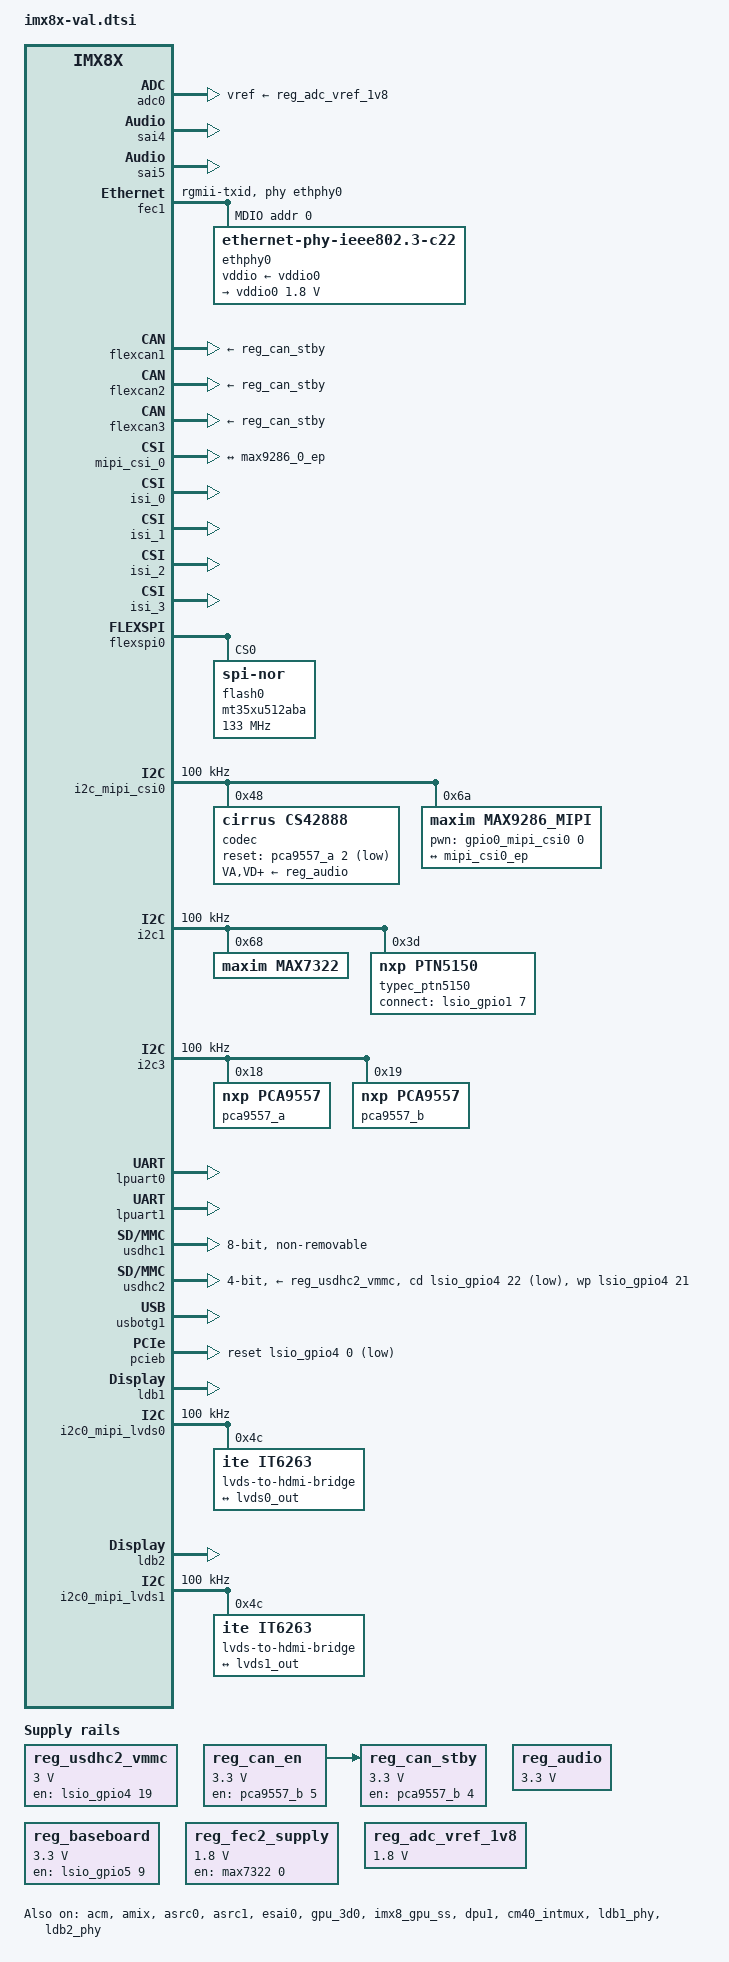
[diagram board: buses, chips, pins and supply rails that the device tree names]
// SPDX-License-Identifier: GPL-2.0+
/*
 * Copyright (C) 2016 Freescale Semiconductor, Inc.
 * Copyright 2017-2019 NXP
 */

/ {
	chosen {
		bootargs = "console=ttyLP0,115200 earlycon=lpuart32,0x5a060000,115200";
		stdout-path = &lpuart0;
	};

	regulators {
		compatible = "simple-bus";
		#address-cells = <1>;
		#size-cells = <0>;

		reg_usdhc2_vmmc: usdhc2_vmmc {
			compatible = "regulator-fixed";
			regulator-name = "SD1_SPWR";
			regulator-min-microvolt = <3000000>;
			regulator-max-microvolt = <3000000>;
			gpio = <&lsio_gpio4 19 GPIO_ACTIVE_HIGH>;
			off-on-delay = <2720>;
			enable-active-high;
		};

		reg_can_en: regulator-can-gen {
			compatible = "regulator-fixed";
			regulator-name = "can-en";
			regulator-min-microvolt = <3300000>;
			regulator-max-microvolt = <3300000>;
			gpio = <&pca9557_b 5 GPIO_ACTIVE_HIGH>;
			enable-active-high;
		};

		reg_can_stby: regulator-can-stby {
			compatible = "regulator-fixed";
			regulator-name = "can-stby";
			regulator-min-microvolt = <3300000>;
			regulator-max-microvolt = <3300000>;
			gpio = <&pca9557_b 4 GPIO_ACTIVE_HIGH>;
			enable-active-high;
			vin-supply = <&reg_can_en>;
		};

		reg_audio: fixedregulator@0 {
			compatible = "regulator-fixed";
			reg = <2>;
			regulator-name = "cs42888_supply";
			regulator-min-microvolt = <3300000>;
			regulator-max-microvolt = <3300000>;
			regulator-always-on;
		};

		reg_baseboard: fixedregulator@1 {
			compatible = "regulator-fixed";
			reg = <2>;
			regulator-name = "baseboard_supply";
			regulator-min-microvolt = <3300000>;
			regulator-max-microvolt = <3300000>;
			regulator-always-on;
			gpio = <&lsio_gpio5 9 GPIO_ACTIVE_HIGH>;
			enable-active-high;
		};

		reg_fec2_supply: fec2_nvcc {
			compatible = "regulator-fixed";
			regulator-name = "fec2_nvcc";
			regulator-min-microvolt = <1800000>;
			regulator-max-microvolt = <1800000>;
			gpio = <&max7322 0 GPIO_ACTIVE_HIGH>;
			enable-active-high;
		};

		reg_adc_vref_1v8: adc_vref_1v8 {
			compatible = "regulator-fixed";
			regulator-name = "vref_1v8";
			regulator-min-microvolt = <1800000>;
			regulator-max-microvolt = <1800000>;
		};
	};

	sound-cs42888 {
		compatible = "fsl,imx8qm-sabreauto-cs42888",
				"fsl,imx-audio-cs42888";
		model = "imx-cs42888";
		audio-cpu = <&esai0>;
		audio-codec = <&codec>;
		audio-asrc = <&asrc0>;
		audio-routing =
			"Line Out Jack", "AOUT1L",
			"Line Out Jack", "AOUT1R",
			"Line Out Jack", "AOUT2L",
			"Line Out Jack", "AOUT2R",
			"Line Out Jack", "AOUT3L",
			"Line Out Jack", "AOUT3R",
			"Line Out Jack", "AOUT4L",
			"Line Out Jack", "AOUT4R",
			"AIN1L", "Line In Jack",
			"AIN1R", "Line In Jack",
			"AIN2L", "Line In Jack",
			"AIN2R", "Line In Jack";
		status = "okay";
	};
};

&acm {
	status = "okay";
};

&adc0 {
	pinctrl-names = "default";
	pinctrl-0 = <&pinctrl_adc0>;
	vref-supply = <&reg_adc_vref_1v8>;
	status = "okay";
};

&amix {
	status = "okay";
};

&asrc0 {
	fsl,asrc-rate  = <48000>;
	status = "okay";
};

&asrc1 {
	fsl,asrc-rate = <48000>;
	status = "okay";
};

&esai0 {
	compatible = "fsl,imx8qm-esai";
	pinctrl-names = "default";
	pinctrl-0 = <&pinctrl_esai0>;
	assigned-clocks = <&acm IMX_ADMA_ACM_ESAI0_MCLK_SEL>,
			<&clk IMX_SC_R_AUDIO_PLL_0 IMX_SC_PM_CLK_PLL>,
			<&clk IMX_SC_R_AUDIO_PLL_0 IMX_SC_PM_CLK_SLV_BUS>,
			<&clk IMX_SC_R_AUDIO_PLL_0 IMX_SC_PM_CLK_MST_BUS>,
			<&esai0_lpcg 0>;
	assigned-clock-parents = <&aud_pll_div0_lpcg 0>;
	assigned-clock-rates = <0>, <786432000>, <49152000>, <24576000>, <49152000>;
	status = "okay";
};

&sai4 {
	assigned-clocks = <&acm IMX_ADMA_ACM_SAI4_MCLK_SEL>,
			<&clk IMX_SC_R_AUDIO_PLL_1 IMX_SC_PM_CLK_PLL>,
			<&clk IMX_SC_R_AUDIO_PLL_1 IMX_SC_PM_CLK_SLV_BUS>,
			<&clk IMX_SC_R_AUDIO_PLL_1 IMX_SC_PM_CLK_MST_BUS>,
			<&sai4_lpcg 0>;
	assigned-clock-parents = <&aud_pll_div1_lpcg 0>;
	assigned-clock-rates = <0>, <786432000>, <98304000>, <24576000>, <98304000>;
	fsl,sai-asynchronous;
	fsl,txm-rxs;
	status = "okay";
};

&sai5 {
	assigned-clocks = <&acm IMX_ADMA_ACM_SAI5_MCLK_SEL>,
			<&clk IMX_SC_R_AUDIO_PLL_1 IMX_SC_PM_CLK_PLL>,
			<&clk IMX_SC_R_AUDIO_PLL_1 IMX_SC_PM_CLK_SLV_BUS>,
			<&clk IMX_SC_R_AUDIO_PLL_1 IMX_SC_PM_CLK_MST_BUS>,
			<&sai5_lpcg 0>;
	assigned-clock-parents = <&aud_pll_div1_lpcg 0>;
	assigned-clock-rates = <0>, <786432000>, <98304000>, <24576000>, <98304000>;
	fsl,sai-asynchronous;
	fsl,txm-rxs;
	status = "okay";
};

&iomuxc {
	pinctrl-names = "default";
	pinctrl-0 = <&pinctrl_hog>;
	imx8qxp-lpddr4-arm2 {
		pinctrl_hog: hoggrp {
			fsl,pins = <
				IMX8QXP_ENET0_REFCLK_125M_25M_LSIO_GPIO5_IO09 0xc600004c
				IMX8QXP_COMP_CTL_GPIO_1V8_3V3_GPIORHB_PAD	0x000514a0
			>;
		};

		pinctrl_adc0: adc0grp {
			fsl,pins = <
				IMX8QXP_ADC_IN0_ADMA_ADC_IN0		0x60
				IMX8QXP_ADC_IN1_ADMA_ADC_IN1		0x60
			>;
		};

		pinctrl_csi0_lpi2c0: csi0lpi2c0grp {
			fsl,pins = <
				IMX8QXP_MIPI_CSI0_I2C0_SCL_MIPI_CSI0_I2C0_SCL	0xc2000020
				IMX8QXP_MIPI_CSI0_I2C0_SDA_MIPI_CSI0_I2C0_SDA	0xc2000020
			>;
		};

		pinctrl_esai0: esai0grp {
			fsl,pins = <
				IMX8QXP_ESAI0_FSR_ADMA_ESAI0_FSR		0xc6000040
				IMX8QXP_ESAI0_FST_ADMA_ESAI0_FST		0xc6000040
				IMX8QXP_ESAI0_SCKR_ADMA_ESAI0_SCKR		0xc6000040
				IMX8QXP_ESAI0_SCKT_ADMA_ESAI0_SCKT		0xc6000040
				IMX8QXP_ESAI0_TX0_ADMA_ESAI0_TX0		0xc6000040
				IMX8QXP_ESAI0_TX1_ADMA_ESAI0_TX1		0xc6000040
				IMX8QXP_ESAI0_TX2_RX3_ADMA_ESAI0_TX2_RX3	0xc6000040
				IMX8QXP_ESAI0_TX3_RX2_ADMA_ESAI0_TX3_RX2	0xc6000040
				IMX8QXP_ESAI0_TX4_RX1_ADMA_ESAI0_TX4_RX1	0xc6000040
				IMX8QXP_ESAI0_TX5_RX0_ADMA_ESAI0_TX5_RX0	0xc6000040
				IMX8QXP_MCLK_OUT0_ADMA_ACM_MCLK_OUT0	0xc6000040
			>;
		};

		pinctrl_fec1: fec1grp {
			fsl,pins = <
				IMX8QXP_COMP_CTL_GPIO_1V8_3V3_ENET_ENETB0_PAD	0x000014a0
				IMX8QXP_COMP_CTL_GPIO_1V8_3V3_ENET_ENETB1_PAD	0x000014a0
				IMX8QXP_ENET0_MDC_CONN_ENET0_MDC			0x06000020
				IMX8QXP_ENET0_MDIO_CONN_ENET0_MDIO			0x06000020
				IMX8QXP_ENET0_RGMII_TX_CTL_CONN_ENET0_RGMII_TX_CTL	0x00000060
				IMX8QXP_ENET0_RGMII_TXC_CONN_ENET0_RGMII_TXC	0x00000060
				IMX8QXP_ENET0_RGMII_TXD0_CONN_ENET0_RGMII_TXD0	0x00000060
				IMX8QXP_ENET0_RGMII_TXD1_CONN_ENET0_RGMII_TXD1	0x00000060
				IMX8QXP_ENET0_RGMII_TXD2_CONN_ENET0_RGMII_TXD2	0x00000060
				IMX8QXP_ENET0_RGMII_TXD3_CONN_ENET0_RGMII_TXD3	0x00000060
				IMX8QXP_ENET0_RGMII_RXC_CONN_ENET0_RGMII_RXC	0x00000060
				IMX8QXP_ENET0_RGMII_RX_CTL_CONN_ENET0_RGMII_RX_CTL	0x00000060
				IMX8QXP_ENET0_RGMII_RXD0_CONN_ENET0_RGMII_RXD0	0x00000060
				IMX8QXP_ENET0_RGMII_RXD1_CONN_ENET0_RGMII_RXD1	0x00000060
				IMX8QXP_ENET0_RGMII_RXD2_CONN_ENET0_RGMII_RXD2	0x00000060
				IMX8QXP_ENET0_RGMII_RXD3_CONN_ENET0_RGMII_RXD3	0x00000060
			>;
		};

		pinctrl_fec2: fec2grp {
			fsl,pins = <
				IMX8QXP_ESAI0_SCKR_CONN_ENET1_RGMII_TX_CTL		0x00000060
				IMX8QXP_ESAI0_FSR_CONN_ENET1_RGMII_TXC		0x00000060
				IMX8QXP_ESAI0_TX4_RX1_CONN_ENET1_RGMII_TXD0	0x00000060
				IMX8QXP_ESAI0_TX5_RX0_CONN_ENET1_RGMII_TXD1	0x00000060
				IMX8QXP_ESAI0_FST_CONN_ENET1_RGMII_TXD2		0x00000060
				IMX8QXP_ESAI0_SCKT_CONN_ENET1_RGMII_TXD3		0x00000060
				IMX8QXP_ESAI0_TX0_CONN_ENET1_RGMII_RXC		0x00000060
				IMX8QXP_SPDIF0_TX_CONN_ENET1_RGMII_RX_CTL		0x00000060
				IMX8QXP_SPDIF0_RX_CONN_ENET1_RGMII_RXD0		0x00000060
				IMX8QXP_ESAI0_TX3_RX2_CONN_ENET1_RGMII_RXD1	0x00000060
				IMX8QXP_ESAI0_TX2_RX3_CONN_ENET1_RGMII_RXD2	0x00000060
				IMX8QXP_ESAI0_TX1_CONN_ENET1_RGMII_RXD3		0x00000060
			>;
		};

		pinctrl_flexcan1: flexcan0grp {
			fsl,pins = <
				IMX8QXP_FLEXCAN0_TX_ADMA_FLEXCAN0_TX		0x21
				IMX8QXP_FLEXCAN0_RX_ADMA_FLEXCAN0_RX		0x21
			>;
		};

		pinctrl_flexcan2: flexcan1grp {
			fsl,pins = <
				IMX8QXP_FLEXCAN1_TX_ADMA_FLEXCAN1_TX		0x21
				IMX8QXP_FLEXCAN1_RX_ADMA_FLEXCAN1_RX		0x21
			>;
		};

		pinctrl_flexcan3: flexcan2grp {
			fsl,pins = <
				IMX8QXP_FLEXCAN2_TX_ADMA_FLEXCAN2_TX		0x21
				IMX8QXP_FLEXCAN2_RX_ADMA_FLEXCAN2_RX		0x21
			>;
		};

		pinctrl_i2c0_mipi_lvds0: mipi_lvds0_i2c0_grp {
			fsl,pins = <
				IMX8QXP_MIPI_DSI0_I2C0_SCL_MIPI_DSI0_I2C0_SCL 0xc6000020
				IMX8QXP_MIPI_DSI0_I2C0_SDA_MIPI_DSI0_I2C0_SDA 0xc6000020
			>;
		};

		pinctrl_i2c0_mipi_lvds1: mipi_lvds1_i2c0_grp {
			fsl,pins = <
				IMX8QXP_MIPI_DSI1_I2C0_SCL_MIPI_DSI1_I2C0_SCL 0xc6000020
				IMX8QXP_MIPI_DSI1_I2C0_SDA_MIPI_DSI1_I2C0_SDA 0xc6000020
			>;
		};

		pinctrl_ptn5150: ptn5150 {
			fsl,pins = <
				IMX8QXP_SPI0_CS1_LSIO_GPIO1_IO07		0x00000021
			>;
		};

		pinctrl_flexspi0: flexspi0grp {
			fsl,pins = <
				IMX8QXP_QSPI0A_DATA0_LSIO_QSPI0A_DATA0	0x06000021
				IMX8QXP_QSPI0A_DATA1_LSIO_QSPI0A_DATA1	0x06000021
				IMX8QXP_QSPI0A_DATA2_LSIO_QSPI0A_DATA2	0x06000021
				IMX8QXP_QSPI0A_DATA3_LSIO_QSPI0A_DATA3	0x06000021
				IMX8QXP_QSPI0A_DQS_LSIO_QSPI0A_DQS		0x06000021
				IMX8QXP_QSPI0A_SS0_B_LSIO_QSPI0A_SS0_B	0x06000021
				IMX8QXP_QSPI0A_SS1_B_LSIO_QSPI0A_SS1_B	0x06000021
				IMX8QXP_QSPI0A_SCLK_LSIO_QSPI0A_SCLK	0x06000021
				IMX8QXP_QSPI0B_SCLK_LSIO_QSPI0B_SCLK	0x06000021
				IMX8QXP_QSPI0B_DATA0_LSIO_QSPI0B_DATA0	0x06000021
				IMX8QXP_QSPI0B_DATA1_LSIO_QSPI0B_DATA1	0x06000021
				IMX8QXP_QSPI0B_DATA2_LSIO_QSPI0B_DATA2	0x06000021
				IMX8QXP_QSPI0B_DATA3_LSIO_QSPI0B_DATA3	0x06000021
				IMX8QXP_QSPI0B_DQS_LSIO_QSPI0B_DQS		0x06000021
				IMX8QXP_QSPI0B_SS0_B_LSIO_QSPI0B_SS0_B	0x06000021
				IMX8QXP_QSPI0B_SS1_B_LSIO_QSPI0B_SS1_B	0x06000021
			>;
		};

		pinctrl_lpi2c1: lpi1cgrp {
			fsl,pins = <
				IMX8QXP_USB_SS3_TC1_ADMA_I2C1_SCL	0x06000021
				IMX8QXP_USB_SS3_TC3_ADMA_I2C1_SDA	0x06000021
			>;
		};

		pinctrl_lpi2c3: lpi2cgrp {
			fsl,pins = <
				IMX8QXP_SPI3_CS1_ADMA_I2C3_SCL	0x06000020
				IMX8QXP_MCLK_IN1_ADMA_I2C3_SDA	0x06000020
			>;
		};

		pinctrl_lpuart0: lpuart0grp {
			fsl,pins = <
				IMX8QXP_UART0_RX_ADMA_UART0_RX	0x0600002c
				IMX8QXP_UART0_TX_ADMA_UART0_TX	0x0600002c
			>;
		};

		pinctrl_lpuart1: lpuart1grp {
			fsl,pins = <
				IMX8QXP_UART1_TX_ADMA_UART1_TX		0x0600002c
				IMX8QXP_UART1_RX_ADMA_UART1_RX		0x0600002c
				IMX8QXP_UART1_RTS_B_ADMA_UART1_RTS_B	0x0600002c
				IMX8QXP_UART1_CTS_B_ADMA_UART1_CTS_B	0x0600002c
			>;
		};

		pinctrl_lpuart3: lpuart3grp {
			fsl,pins = <
				IMX8QXP_FLEXCAN2_RX_ADMA_UART3_RX	0x0600002c
				IMX8QXP_FLEXCAN2_TX_ADMA_UART3_TX	0x0600002c
			>;
		};

		pinctrl_usdhc1: usdhc1grp {
			fsl,pins = <
				IMX8QXP_EMMC0_CLK_CONN_EMMC0_CLK		0x06000041
				IMX8QXP_EMMC0_CMD_CONN_EMMC0_CMD		0x00000021
				IMX8QXP_EMMC0_DATA0_CONN_EMMC0_DATA0	0x00000021
				IMX8QXP_EMMC0_DATA1_CONN_EMMC0_DATA1	0x00000021
				IMX8QXP_EMMC0_DATA2_CONN_EMMC0_DATA2	0x00000021
				IMX8QXP_EMMC0_DATA3_CONN_EMMC0_DATA3	0x00000021
				IMX8QXP_EMMC0_DATA4_CONN_EMMC0_DATA4	0x00000021
				IMX8QXP_EMMC0_DATA5_CONN_EMMC0_DATA5	0x00000021
				IMX8QXP_EMMC0_DATA6_CONN_EMMC0_DATA6	0x00000021
				IMX8QXP_EMMC0_DATA7_CONN_EMMC0_DATA7	0x00000021
				IMX8QXP_EMMC0_STROBE_CONN_EMMC0_STROBE	0x00000041
				IMX8QXP_EMMC0_RESET_B_CONN_EMMC0_RESET_B	0x00000021
			>;
		};

		pinctrl_usdhc1_100mhz: usdhc1grp100mhz {
			fsl,pins = <
				IMX8QXP_EMMC0_CLK_CONN_EMMC0_CLK		0x06000040
				IMX8QXP_EMMC0_CMD_CONN_EMMC0_CMD		0x00000020
				IMX8QXP_EMMC0_DATA0_CONN_EMMC0_DATA0	0x00000020
				IMX8QXP_EMMC0_DATA1_CONN_EMMC0_DATA1	0x00000020
				IMX8QXP_EMMC0_DATA2_CONN_EMMC0_DATA2	0x00000020
				IMX8QXP_EMMC0_DATA3_CONN_EMMC0_DATA3	0x00000020
				IMX8QXP_EMMC0_DATA4_CONN_EMMC0_DATA4	0x00000020
				IMX8QXP_EMMC0_DATA5_CONN_EMMC0_DATA5	0x00000020
				IMX8QXP_EMMC0_DATA6_CONN_EMMC0_DATA6	0x00000020
				IMX8QXP_EMMC0_DATA7_CONN_EMMC0_DATA7	0x00000020
				IMX8QXP_EMMC0_STROBE_CONN_EMMC0_STROBE	0x00000040
				IMX8QXP_EMMC0_RESET_B_CONN_EMMC0_RESET_B	0x00000020
			>;
		};

		pinctrl_usdhc1_200mhz: usdhc1grp200mhz {
			fsl,pins = <
				IMX8QXP_EMMC0_CLK_CONN_EMMC0_CLK		0x06000040
				IMX8QXP_EMMC0_CMD_CONN_EMMC0_CMD		0x00000020
				IMX8QXP_EMMC0_DATA0_CONN_EMMC0_DATA0	0x00000020
				IMX8QXP_EMMC0_DATA1_CONN_EMMC0_DATA1	0x00000020
				IMX8QXP_EMMC0_DATA2_CONN_EMMC0_DATA2	0x00000020
				IMX8QXP_EMMC0_DATA3_CONN_EMMC0_DATA3	0x00000020
				IMX8QXP_EMMC0_DATA4_CONN_EMMC0_DATA4	0x00000020
				IMX8QXP_EMMC0_DATA5_CONN_EMMC0_DATA5	0x00000020
				IMX8QXP_EMMC0_DATA6_CONN_EMMC0_DATA6	0x00000020
				IMX8QXP_EMMC0_DATA7_CONN_EMMC0_DATA7	0x00000020
				IMX8QXP_EMMC0_STROBE_CONN_EMMC0_STROBE	0x00000040
				IMX8QXP_EMMC0_RESET_B_CONN_EMMC0_RESET_B	0x00000020
			>;
		};

		pinctrl_usdhc2_gpio: usdhc2gpiogrp {
			fsl,pins = <
				IMX8QXP_USDHC1_RESET_B_LSIO_GPIO4_IO19	0x00000021
				IMX8QXP_USDHC1_WP_LSIO_GPIO4_IO21		0x00000021
				IMX8QXP_USDHC1_CD_B_LSIO_GPIO4_IO22	0x00000021
			>;
		};

		pinctrl_usdhc2: usdhc2grp {
			fsl,pins = <
				IMX8QXP_USDHC1_CLK_CONN_USDHC1_CLK		0x06000041
				IMX8QXP_USDHC1_CMD_CONN_USDHC1_CMD		0x00000021
				IMX8QXP_USDHC1_DATA0_CONN_USDHC1_DATA0	0x00000021
				IMX8QXP_USDHC1_DATA1_CONN_USDHC1_DATA1	0x00000021
				IMX8QXP_USDHC1_DATA2_CONN_USDHC1_DATA2	0x00000021
				IMX8QXP_USDHC1_DATA3_CONN_USDHC1_DATA3	0x00000021
				IMX8QXP_USDHC1_VSELECT_CONN_USDHC1_VSELECT	0x00000021
			>;
		};

		pinctrl_usdhc2_100mhz: usdhc2grp100mhz {
			fsl,pins = <
				IMX8QXP_USDHC1_CLK_CONN_USDHC1_CLK		0x06000040
				IMX8QXP_USDHC1_CMD_CONN_USDHC1_CMD		0x00000020
				IMX8QXP_USDHC1_DATA0_CONN_USDHC1_DATA0	0x00000020
				IMX8QXP_USDHC1_DATA1_CONN_USDHC1_DATA1	0x00000020
				IMX8QXP_USDHC1_DATA2_CONN_USDHC1_DATA2	0x00000020
				IMX8QXP_USDHC1_DATA3_CONN_USDHC1_DATA3	0x00000020
				IMX8QXP_USDHC1_VSELECT_CONN_USDHC1_VSELECT	0x00000020
			>;
		};

		pinctrl_usdhc2_200mhz: usdhc2grp200mhz {
			fsl,pins = <
				IMX8QXP_USDHC1_CLK_CONN_USDHC1_CLK		0x06000040
				IMX8QXP_USDHC1_CMD_CONN_USDHC1_CMD		0x00000020
				IMX8QXP_USDHC1_DATA0_CONN_USDHC1_DATA0	0x00000020
				IMX8QXP_USDHC1_DATA1_CONN_USDHC1_DATA1	0x00000020
				IMX8QXP_USDHC1_DATA2_CONN_USDHC1_DATA2	0x00000020
				IMX8QXP_USDHC1_DATA3_CONN_USDHC1_DATA3	0x00000020
				IMX8QXP_USDHC1_VSELECT_CONN_USDHC1_VSELECT	0x00000020
			>;
		};

		pinctrl_pcieb: pciebgrp{
			fsl,pins = <
				IMX8QXP_PCIE_CTRL0_PERST_B_LSIO_GPIO4_IO00		0x06000021
				IMX8QXP_PCIE_CTRL0_CLKREQ_B_LSIO_GPIO4_IO01	0x06000021
				IMX8QXP_PCIE_CTRL0_WAKE_B_LSIO_GPIO4_IO02		0x04000021
			>;
		};

		pinctrl_usbotg1: usbotg1 {
			fsl,pins = <
				IMX8QXP_USB_SS3_TC0_CONN_USB_OTG1_PWR		0x00000021
			>;
		};

		pinctrl_mipi_csi0_gpio: mipicsi0gpiogrp{
			fsl,pins = <
				IMX8QXP_MIPI_CSI0_GPIO0_00_MIPI_CSI0_GPIO0_IO00	0x00000021
				IMX8QXP_MIPI_CSI0_GPIO0_01_MIPI_CSI0_GPIO0_IO01	0x00000021
			>;
		};
	};
};

&fec1 {
	pinctrl-names = "default";
	pinctrl-0 = <&pinctrl_fec1>;
	phy-mode = "rgmii-txid";
	phy-handle = <&ethphy0>;
	fsl,magic-packet;
	rx-internal-delay-ps = <2000>;
	status = "okay";

	mdio {
		#address-cells = <1>;
		#size-cells = <0>;

		ethphy0: ethernet-phy@0 {
			compatible = "ethernet-phy-ieee802.3-c22";
			reg = <0>;
			qca,disable-smarteee;
			vddio-supply = <&vddio0>;

			vddio0: vddio-regulator {
				regulator-min-microvolt = <1800000>;
				regulator-max-microvolt = <1800000>;
			};
		};

		ethphy1: ethernet-phy@1 {
			compatible = "ethernet-phy-ieee802.3-c22";
			reg = <1>;
			qca,disable-smarteee;
			vddio-supply = <&vddio1>;
			status = "disabled";

			vddio1: vddio-regulator {
				regulator-min-microvolt = <1800000>;
				regulator-max-microvolt = <1800000>;
			};
		};
	};
};

&fec2 {
	pinctrl-names = "default";
	pinctrl-0 = <&pinctrl_fec2>;
	phy-mode = "rgmii-txid";
	phy-handle = <&ethphy1>;
	phy-supply = <&reg_fec2_supply>;
	fsl,magic-packet;
	rx-internal-delay-ps = <2000>;
	status = "disabled";
};

&flexcan1 {
	pinctrl-names = "default";
	pinctrl-0 = <&pinctrl_flexcan1>;
	xceiver-supply = <&reg_can_stby>;
	status = "okay";
};

&flexcan2 {
	pinctrl-names = "default";
	pinctrl-0 = <&pinctrl_flexcan2>;
	xceiver-supply = <&reg_can_stby>;
	status = "okay";
};

&flexcan3 {
	pinctrl-names = "default";
	pinctrl-0 = <&pinctrl_flexcan3>;
	xceiver-supply = <&reg_can_stby>;
	status = "okay";
};

&mipi_csi_0 {
	#address-cells = <1>;
	#size-cells = <0>;
	virtual-channel;
	status = "okay";

	/* Camera 0  MIPI CSI-2 (CSIS0) */
	port@0 {
		reg = <0>;
		mipi_csi0_ep: endpoint {
			remote-endpoint = <&max9286_0_ep>;
			data-lanes = <1 2 3 4>;
		};
	};
};

&gpio0_mipi_csi0 {
	pinctrl-names = "default";
	pinctrl-0 = <&pinctrl_mipi_csi0_gpio>;
};

&isi_0 {
	status = "okay";
};

&isi_1 {
	status = "okay";
};

&isi_2 {
	status = "okay";
};

&isi_3 {
	status = "okay";
};

&flexspi0 {
	pinctrl-names = "default";
	pinctrl-0 = <&pinctrl_flexspi0>;
	status = "okay";

	flash0: mt35xu512aba@0 {
		reg = <0>;
		#address-cells = <1>;
		#size-cells = <1>;
		compatible = "jedec,spi-nor";
		spi-max-frequency = <133000000>;
		spi-tx-bus-width = <1>;
		spi-rx-bus-width = <8>;
	};
};

&i2c_mipi_csi0 {
	#address-cells = <1>;
	#size-cells = <0>;
	pinctrl-names = "default";
	pinctrl-0 = <&pinctrl_csi0_lpi2c0>;
	clock-frequency = <100000>;
	status = "okay";

	codec: cs42888@48 {
		compatible = "cirrus,cs42888";
		reg = <0x48>;
		clocks = <&mclkout0_lpcg 0>;
		clock-names = "mclk";
		VA-supply = <&reg_audio>;
		VD-supply = <&reg_audio>;
		VLS-supply = <&reg_audio>;
		VLC-supply = <&reg_audio>;
		reset-gpio = <&pca9557_a 2 1>;
		status = "okay";
	};

	max9286_mipi@6a	 {
		compatible = "maxim,max9286_mipi";
		reg = <0x6A>;
		clocks = <&clk_dummy>;
		clock-names = "capture_mclk";
		mclk = <27000000>;
		mclk_source = <0>;
		pwn-gpios = <&gpio0_mipi_csi0 0 GPIO_ACTIVE_HIGH>;
		virtual-channel;
		status = "okay";
		port {
			max9286_0_ep: endpoint {
			remote-endpoint = <&mipi_csi0_ep>;
			data-lanes = <1 2 3 4>;
			};
		};
	};
};

&i2c1 {
	#address-cells = <1>;
	#size-cells = <0>;
	clock-frequency = <100000>;
	pinctrl-names = "default";
	pinctrl-0 = <&pinctrl_lpi2c1>;
	status = "okay";

	max7322: gpio@68 {
		compatible = "maxim,max7322";
		reg = <0x68>;
		gpio-controller;
		#gpio-cells = <2>;
	};

	typec_ptn5150: typec@3d {
		compatible = "nxp,ptn5150";
		pinctrl-names = "default";
		pinctrl-0 = <&pinctrl_ptn5150>;
		reg = <0x3d>;
		connect-gpios = <&lsio_gpio1 7 GPIO_ACTIVE_HIGH>;
	};
};

&i2c3 {
	#address-cells = <1>;
	#size-cells = <0>;
	clock-frequency = <100000>;
	pinctrl-names = "default";
	pinctrl-0 = <&pinctrl_lpi2c3>;
	status = "okay";

	pca9557_a: gpio@18 {
		compatible = "nxp,pca9557";
		reg = <0x18>;
		gpio-controller;
		#gpio-cells = <2>;
	};

	pca9557_b: gpio@19 {
		compatible = "nxp,pca9557";
		reg = <0x19>;
		gpio-controller;
		#gpio-cells = <2>;
	};
};

&lpuart0 {
	pinctrl-names = "default";
	pinctrl-0 = <&pinctrl_lpuart0>;
	status = "okay";
};

&lpuart1 {
	pinctrl-names = "default";
	pinctrl-0 = <&pinctrl_lpuart1>;
	status = "okay";
};

&lpuart3 {
	pinctrl-names = "default";
	pinctrl-0 = <&pinctrl_lpuart3>;
	status = "disabled";
};

&usdhc1 {
	pinctrl-names = "default", "state_100mhz", "state_200mhz";
	pinctrl-0 = <&pinctrl_usdhc1>;
	pinctrl-1 = <&pinctrl_usdhc1_100mhz>;
	pinctrl-2 = <&pinctrl_usdhc1_200mhz>;
	bus-width = <8>;
	non-removable;
	status = "okay";
};

&usdhc2 {
	pinctrl-names = "default", "state_100mhz", "state_200mhz";
	pinctrl-0 = <&pinctrl_usdhc2>, <&pinctrl_usdhc2_gpio>;
	pinctrl-1 = <&pinctrl_usdhc2_100mhz>, <&pinctrl_usdhc2_gpio>;
	pinctrl-2 = <&pinctrl_usdhc2_200mhz>, <&pinctrl_usdhc2_gpio>;
	bus-width = <4>;
	cd-gpios = <&lsio_gpio4 22 GPIO_ACTIVE_LOW>;
	wp-gpios = <&lsio_gpio4 21 GPIO_ACTIVE_HIGH>;
	vmmc-supply = <&reg_usdhc2_vmmc>;
	status = "okay";
};

&gpu_3d0 {
	status = "okay";
};

&imx8_gpu_ss {
	status = "okay";
};

&usbotg1 {
	pinctrl-names = "default";
	pinctrl-0 = <&pinctrl_usbotg1>;
	srp-disable;
	hnp-disable;
	adp-disable;
	power-polarity-active-high;
	disable-over-current;
	status = "okay";
};

&dpu1 {
	status = "okay";
};

&pcieb{
	ext_osc = <1>;
	pinctrl-names = "default";
	pinctrl-0 = <&pinctrl_pcieb>;
	reset-gpio = <&lsio_gpio4 0 GPIO_ACTIVE_LOW>;
	clkreq-gpio = <&lsio_gpio4 1 GPIO_ACTIVE_LOW>;
	status = "okay";
};

&cm40_intmux {
	status = "okay";
};

&ldb1_phy {
	status = "okay";
};

&ldb1 {
	status = "okay";

	lvds-channel@0 {
		fsl,data-mapping = "jeida";
		fsl,data-width = <24>;
		status = "okay";

		port@1 {
			reg = <1>;

			lvds0_out: endpoint {
				remote-endpoint = <&it6263_0_in>;
			};
		};
	};
};

&i2c0_mipi_lvds0 {
	#address-cells = <1>;
	#size-cells = <0>;
	pinctrl-names = "default";
	pinctrl-0 = <&pinctrl_i2c0_mipi_lvds0>;
	clock-frequency = <100000>;
	status = "okay";

	lvds-to-hdmi-bridge@4c {
		compatible = "ite,it6263";
		reg = <0x4c>;

		port {
			it6263_0_in: endpoint {
				clock-lanes = <3>;
				data-lanes = <0 1 2 4>;
				remote-endpoint = <&lvds0_out>;
			};
		};
	};
};

&ldb2_phy {
	status = "okay";
};

&ldb2 {
	status = "okay";

	lvds-channel@0 {
		fsl,data-mapping = "jeida";
		fsl,data-width = <24>;
		status = "okay";

		port@1 {
			reg = <1>;

			lvds1_out: endpoint {
				remote-endpoint = <&it6263_1_in>;
			};
		};
	};
};

&i2c0_mipi_lvds1 {
	#address-cells = <1>;
	#size-cells = <0>;
	pinctrl-names = "default";
	pinctrl-0 = <&pinctrl_i2c0_mipi_lvds1>;
	clock-frequency = <100000>;
	status = "okay";

	lvds-to-hdmi-bridge@4c {
		compatible = "ite,it6263";
		reg = <0x4c>;

		port {
			it6263_1_in: endpoint {
				clock-lanes = <3>;
				data-lanes = <0 1 2 4>;
				remote-endpoint = <&lvds1_out>;
			};
		};
	};
};
